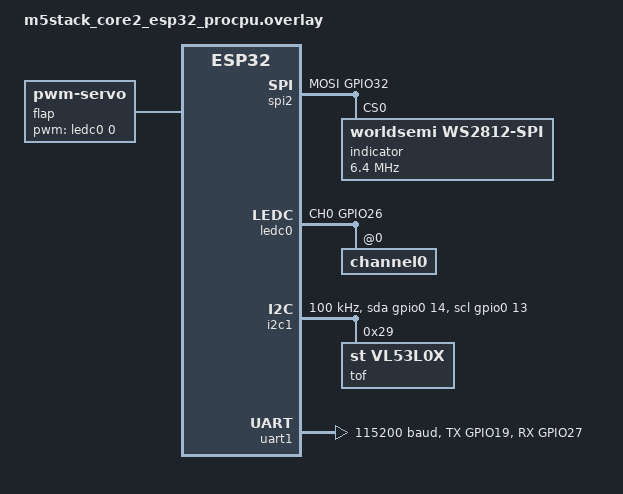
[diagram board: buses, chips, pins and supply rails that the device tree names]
/*
 * Copyright (c) 2026 Tasuku Suzuki
 * SPDX-License-Identifier: MIT OR Apache-2.0
 *
 * Core2 本体の Port A と, 背面に積んだ Module ExtPort For Core2 の各ポート.
 *
 *   Port A (G32)     : RGB LED (SK6812). SPI の MOSI で波形を作る.
 *                      Zephyr の WS2812 ビットバン・ドライバは nRF 専用で,
 *                      ESP32 には RMT ドライバも無いため.
 *   Port B (G26/G36) : フラップ板のサーボ. PWM は G26. G36 は入力専用で未使用.
 *   Port C (G13/G14) : ToF 測距センサ (VL53L0X). I2C.
 *   Port D (G34/G35) : 空けてある. 下記参照.
 *   Port E (G27/G19) : QR コードスキャナ. UART.
 *                      Grove の黄線が G19, 白線が G27 (ExtPort の pin map).
 *                      スキャナは黄で受けて白で送るので, TX=G19, RX=G27.
 *                      ExtPort の DIP は Port E の「19」と「27」を ON にする.
 *                      片方だけだと, 送れるのに返事が来ない中途半端な壊れ方を
 *                      する (サーボは 1 線しか使わないので気付けない).
 *
 * ToF とサーボは板の近くに置くので, 隣り合う B と C に寄せてある.
 * サーボが B なのは G36 が入力専用で, D (G34/G35 とも入力専用) には
 * PWM も I2C も置けないため. この 2 つは物理的にここしか選べない.
 *
 * 周辺機器はどれも必須ではない.
 *
 *   Core2 単体         画面とタッチだけで一通り動く. 入庫と出庫はボタンになる.
 *   Core2 + どれか 1 つ 本体の Port A にはどれか 1 つを挿せる.
 *   Core2 + ExtPort    4 つを同時に挿して全部組み合わせられる.
 *
 * どれが繋がっているかは, この overlay の aliases が決める. アプリは alias が
 * あるかどうかをコンパイル時に, device_is_ready() を実行時に見て, 無いものは
 * 画面のボタンで代わりを出す. この overlay の無いボードやパソコン上でも,
 * 画面だけのアプリとしてそのまま動く.
 *
 * Port D は読者のために空けてある. 照度センサを挿してナイトモードにしても,
 * 人感センサを挿して人が近づいたときだけ画面を点けてもよい. G34/G35 はどちらも
 * 入力専用ピンなので, デジタル入力かアナログ入力か UART の受信に向く.
 * I2C のユニットなら, Port C と同じバスに Bottom2 の PORT.C からぶら下げる
 * こともできる (アドレスが被らないこと).
 */

#include <zephyr/dt-bindings/pwm/pwm.h>
#include <zephyr/dt-bindings/led/led.h>
#include <zephyr/dt-bindings/input/input-event-codes.h>

/ {
	flap: flap {
		compatible = "pwm-servo";
		pwms = <&ledc0 0 PWM_MSEC(20) PWM_POLARITY_NORMAL>;
		/* FeeTech FS0403. 900〜2100 us で約 120 度.
		 * 9 g 級のサーボは動き出しにほぼ停動電流を引き, Core2 の Grove 5V
		 * では本体ごと電源が落ちる. FS0403 は動作 70 mA で収まる. */
		min-pulse = <PWM_USEC(900)>;
		max-pulse = <PWM_USEC(2100)>;
	};

	/* アプリは node label ではなく alias で周辺機器を引く.
	 *
	 * node label はボードごとに意味が違う. たとえば uart1 は, このボードでは
	 * Port B に出ている QR スキャナの線だが, 別のボードでは無関係の UART である.
	 * alias なら「この駐車場アプリの何なのか」を宣言することになるので,
	 * 取り違えようがない. アプリ側は alias の有無だけを見て,
	 * 無ければその周辺機器を使わない実装に切り替える. */
	aliases {
		carpark-scanner = &uart1;
		carpark-tof = &tof;
		carpark-indicator = &indicator;
		carpark-flap = &flap;
		carpark-buzzer = &vib_motor;
		carpark-unit-bus = &i2c1;
	};
};

&pinctrl {
	ledc0_flap: ledc0_flap {
		group1 {
			pinmux = <LEDC_CH0_GPIO26>;
			output-enable;
		};
	};

	uart1_qr: uart1_qr {
		group1 {
			pinmux = <UART1_TX_GPIO19>;
			output-enable;
		};
		group2 {
			pinmux = <UART1_RX_GPIO27>;
		};
	};

	uart2_gps: uart2_gps {
		group1 {
			pinmux = <UART2_RX_GPIO34>;
		};
	};

	spim2_ws2812: spim2_ws2812 {
		group1 {
			pinmux = <SPIM2_MOSI_GPIO32>;
			output-enable;
		};
	};
};

/* Port A: RGB LED. 6.4MHz で 1 ビットを 8 シンボルに展開し, WS2812 の波形を作る. */
&spi2 {
	status = "okay";
	pinctrl-0 = <&spim2_ws2812>;
	pinctrl-names = "default";
	#address-cells = <1>;
	#size-cells = <0>;

	/* WS2812 を SPI で駆動するための回避策. これが無いと待機レベルが合わない. */
	line-idle-low;

	indicator: ws2812@0 {
		compatible = "worldsemi,ws2812-spi";
		reg = <0>;
		spi-max-frequency = <6400000>;
		/* spi-cpha は外してある. 立てると MOSI がクロックの半周期 (6.4MHz で
		 * 78 ns) ずれる. 転送の途中は前後のビットで辻褄が合うが, 先頭の
		 * シンボルだけは崩れる. それはチェーン先頭の LED の最初のバイト
		 * (color-mapping が GREEN 先頭なので緑) に当たり, 1 個目だけが
		 * 色は合っているのに暗い, という症状になる. */
		chain-length = <3>;
		color-mapping = <LED_COLOR_ID_GREEN LED_COLOR_ID_RED LED_COLOR_ID_BLUE>;
		spi-one-frame = <0xf0>;  /* 625 ns high, 625 ns low */
		spi-zero-frame = <0xc0>; /* 312.5 ns high, 937.5 ns low */
	};
};

&ledc0 {
	pinctrl-0 = <&ledc0_flap>;
	pinctrl-names = "default";
	status = "okay";
	#address-cells = <1>;
	#size-cells = <0>;

	channel0@0 {
		reg = <0x0>;
		timer = <0>;
	};
};

/* Port C: ToF. Core2 の既定は Port A なので, ピンを振り直す. */
&pinctrl {
	i2c1_tof: i2c1_tof {
		group1 {
			/* M5Stack の Grove は pin1 = 白, pin2 = 黄. I2C では pin1 = SCL.
			 * Core2 本体の Port A が sda = G32 (黄), scl = G33 (白) で,
			 * ExtPort の Port C は白 = G13, 黄 = G14 なので
			 * SCL = G13, SDA = G14 になる. */
			pinmux = <I2C1_SDA_GPIO14>,
				 <I2C1_SCL_GPIO13>;
			drive-open-drain;
			output-high;
		};
	};
};

&i2c1 {
	status = "okay";
	clock-frequency = <I2C_BITRATE_STANDARD>;
	pinctrl-0 = <&i2c1_tof>;
	pinctrl-names = "default";
	sda-gpios = <&gpio0 14 GPIO_OPEN_DRAIN>;
	scl-gpios = <&gpio0 13 GPIO_OPEN_DRAIN>;

	tof: vl53l0x@29 {
		compatible = "st,vl53l0x";
		reg = <0x29>;
	};
};

/* Port E: QR コードスキャナ. 本体のスイッチを UART 側にしておくこと. */
&uart1 {
	status = "okay";
	current-speed = <115200>;
	pinctrl-0 = <&uart1_qr>;
	pinctrl-names = "default";
};

/* Port D は読者の拡張用に空けてある.
 *
 * ここは何を挿してもよい. 照度センサでナイトモード, 人感センサで人が近づいた
 * ときだけ画面を点ける, GPS で時刻を合わせる, など.
 * 使うときは status を okay にし, ExtPort の Port D の DIP を 34/35 側にする.
 * 例として GPS (NMEA) を繋ぐ形を残してある. */
&uart2 {
	status = "disabled";
	current-speed = <115200>;
	pinctrl-0 = <&uart2_gps>;
	pinctrl-names = "default";

	gps: gnss-nmea-generic {
		compatible = "gnss-nmea-generic";
	};
};
